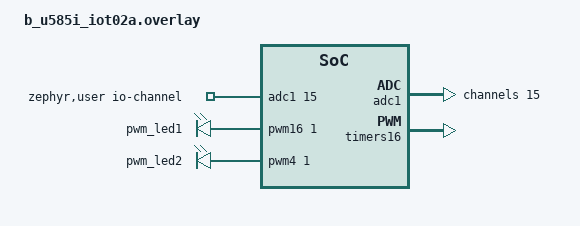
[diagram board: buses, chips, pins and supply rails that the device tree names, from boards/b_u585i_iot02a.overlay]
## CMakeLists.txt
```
cmake_minimum_required(VERSION 3.20.0)

find_package(Zephyr REQUIRED HINTS $ENV{ZEPHYR_BASE})
project(pwm_knob)

target_sources(app PRIVATE src/main.c)

target_compile_options(app PRIVATE
    -Wall
    -Wextra
    -Werror
)
```

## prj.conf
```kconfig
CONFIG_ADC=y
CONFIG_PWM=y
```

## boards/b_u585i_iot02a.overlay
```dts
/ {
    aliases {
        my-adc = &adc1;
        my-adc-channel = &adc1_ch15;
		pwm-led-red = &pwm_led1;
		pwm-led-green = &pwm_led2;
    };
};

/ {
	zephyr,user {
		/* adjust channel number according to pinmux in board.dts */
		io-channels = <&adc1 15>;
	};
};

&adc1 {
	#address-cells = <1>;
	#size-cells = <0>;

	adc1_ch15: channel@15 { // A5 -> PB0
		reg = <15>;
		zephyr,gain = "ADC_GAIN_1";
		zephyr,reference = "ADC_REF_INTERNAL";
        zephyr,vref-mv = <3300>;
		zephyr,acquisition-time = <ADC_ACQ_TIME_DEFAULT>;
		zephyr,resolution = <14>;
	};
};

&timers16 {
	status = "okay";
	st,prescaler = <1000>;
	pwm16: pwm {
		status = "okay";
		pinctrl-0 = <&tim16_ch1_pe0>;
		pinctrl-names = "default";
	};
};

/ {
	pwmleds {
		compatible = "pwm-leds";
		status = "okay";

		pwm_led1: red_pwm_led {
			pwms = <&pwm16 1 PWM_USEC((1 << 14) - 1) PWM_POLARITY_INVERTED>; // 1 << ADC resolution
		};
		pwm_led2: green_pwm_led {
			pwms = <&pwm4 1 PWM_MSEC(20) PWM_POLARITY_INVERTED>; // milliseconds overrided in software
		};
	};
};
```

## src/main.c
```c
#include <stdio.h>
#include <zephyr/kernel.h>
#include <zephyr/drivers/adc.h>
#include <zephyr/drivers/pwm.h>

// Settings
static const int32_t sleep_time_ms = 20;

// Get Devicetree configurations
#define MY_ADC_CH DT_ALIAS(my_adc_channel)
static const struct device *adc = DEVICE_DT_GET(DT_ALIAS(my_adc));
static const struct adc_channel_cfg adc_ch = ADC_CHANNEL_CFG_DT(MY_ADC_CH);
static const struct pwm_dt_spec pwm_led_red = PWM_DT_SPEC_GET(DT_ALIAS(pwm_led_red));
static const struct pwm_dt_spec pwm_led_green = PWM_DT_SPEC_GET(DT_ALIAS(pwm_led_green));

int main(void)
{
    int ret;
    uint16_t buf;
    uint16_t val_mv;
    int32_t vref_mv;

    // Get Vref (mV) from Devicetree property
    vref_mv = DT_PROP(MY_ADC_CH, zephyr_vref_mv);

    // Buffer and options for ADC (defined in adc.h)
    struct adc_sequence seq = {
        .channels = BIT(adc_ch.channel_id),
        .buffer = &buf,
        .buffer_size = sizeof(buf),
        .resolution = DT_PROP(MY_ADC_CH, zephyr_resolution)
    };

    // Make sure that the ADC was initialized
    if (!device_is_ready(adc)) {
        printk("ADC peripheral is not ready\r\n");
        return 0;
    }

    // Configure ADC channel
    ret = adc_channel_setup(adc, &adc_ch);
    if (ret < 0) {
        printk("Could not set up ADC\r\n");
        return 0;
    }

    if (!pwm_is_ready_dt(&pwm_led_red)) {
        printk("Error: PWM device %s is not ready\n",
            pwm_led_red.dev->name
        );
        return 0;
    }

    if (!pwm_is_ready_dt(&pwm_led_green)) {
        printk("Error: PWM device %s is not ready\n",
            pwm_led_green.dev->name
        );
        return 0;
    }

    // Do forever
    while (1) {

        // Sample ADC
        ret = adc_read(adc, &seq);
        if (ret < 0) {
            printk("Could not read ADC: %d\r\n", ret);
            continue;
        }

        // Calculate ADC value (mV)
        val_mv = buf * vref_mv / (1 << seq.resolution);

        // Print ADC value
        printk("Raw: %u, mV: %u\r\n", buf, val_mv);

        ret =
            pwm_set_pulse_dt(&pwm_led_red, PWM_USEC(buf)) + // period is properly set in DT
            pwm_set_dt(&pwm_led_green, PWM_USEC((1 << seq.resolution) - 1), PWM_USEC(buf)); // period in DT is wrong
        if (ret) {
            printk("Error %d: failed to set pulse width\n", ret);
            return 0;
        }

        // Sleep
        k_msleep(sleep_time_ms);
    }
}
```
